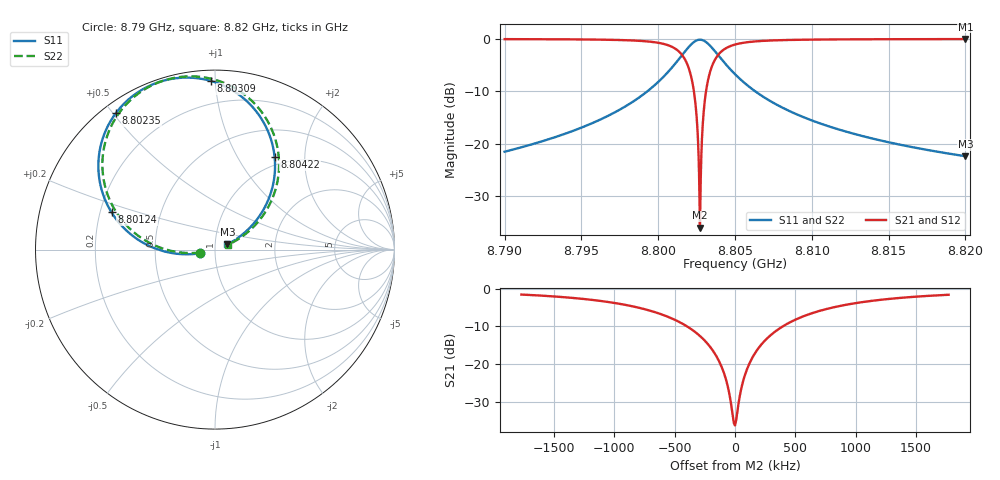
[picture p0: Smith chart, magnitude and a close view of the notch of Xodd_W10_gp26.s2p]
! Sonnet Data File
! From: emgraph Version : 16.52
! From Project: Qubit_Xmon2
! Data is De-embedded
! Data File Written: 10/18/2017 10:22:27
!< HDATE 10/18/2017 09:13:04
!< MDATE 10/18/2017 09:13:04
!< PARAMS
!< Lj = 11.0
!< Gap = 26.0
!< Pwid = 2000.0
!< Airgap = 6.0
!< Width = 10.0
!< END PARAMS
# GHZ S MA R 34.60000
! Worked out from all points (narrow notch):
!   3001 points, 8.79 GHz to 8.82 GHz, reference 34.6 ohm
!   highest |S21| = -0.03 dB at 8.82 GHz (marker M1); lowest = -36.1 dB at 8.80272 GHz (marker M2)
!   notch at M2: 36.0 dB deep, 296 kHz wide at half that depth
!   lowest |S11| = -22.4 dB at 8.82 GHz (marker M3), VSWR 1.16, Z = 39.7 + j2.35 ohm
!   |S11| at or under -10 dB: start of sweep to 8.7993 GHz; 8.806308 GHz to end of sweep
!   |S22| runs from -22.4 to -0.1 dB; largest |S21 - S12| = 0
!   S11 on the Smith chart (normalised r, x): 8.79 GHz: 0.85, -0.03; 8.80124 GHz: 0.25, +0.16; 8.80235 GHz: 0.04, +0.51; 8.80309 GHz: 0.06, +0.97; 8.80422 GHz: 0.87, +1.45; 8.82 GHz: 1.15, +0.07
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8.79  0.08345 -166.1  0.9964 -77.3  0.9964 -77.3  0.08345 -168.8
!< P1 F=8.79 Eeff=(5.1373841 -5.7056e-5) Z0=(34.640405 -9.7526e-5) R=0.0 C=0.0
!< P2 F=8.79 Eeff=(5.1373841 -5.7056e-5) Z0=(34.640405 -9.7526e-5) R=0.0 C=0.0
8.795  0.1418 -169.5  0.9895 -80.8  0.9895 -80.8  0.1418 -172.3
8.79802  0.2338 -175.0  0.9713 -86.2  0.9713 -86.2  0.2338 -177.7
8.8  0.3879 175.5  0.919 -95.5  0.919 -95.5  0.3879 172.8
8.80124  0.6127 160.2  0.7826 -110.4  0.7826 -110.4  0.6127 157.5
8.80193  0.8188 142.4  0.555 -127.6  0.555 -127.6  0.8188 139.7
8.80217  0.8932 133.6  0.4204 -135.9  0.4204 -135.9  0.8932 130.8
8.80235  0.94 126.0  0.297 -142.5  0.297 -142.5  0.94 123.2
8.80249  0.9666 119.6  0.1894 -147.1  0.1894 -147.1  0.9666 116.8
8.80262  0.981 113.4  0.08377 -147.2  0.08377 -147.2  0.981 110.7
8.80272  0.9844 108.6  0.01568 -66.7  0.01568 -66.7  0.9844 105.9
8.80281  0.9815 104.3  0.07867 1.5  0.07867 1.5  0.9815 101.5
8.80294  0.9678 98.1  0.184 2.0  0.184 2.0  0.9678 95.4
8.80309  0.9397 91.3  0.2985 -2.9  0.2985 -2.9  0.9397 88.6
8.80328  0.8906 83.5  0.4265 -9.8  0.4265 -9.8  0.8906 80.7
8.80352  0.8174 74.8  0.5576 -17.9  0.5576 -17.9  0.8174 72.1
8.80422  0.6147 57.3  0.7813 -34.8  0.7813 -34.8  0.6147 54.6
8.805  0.4603 46.5  0.8841 -45.3  0.8841 -45.3  0.4603 43.8
8.80679  0.2829 35.3  0.9579 -56.3  0.9579 -56.3  0.2829 32.6
8.81  0.1663 28.3  0.9857 -63.1  0.9857 -63.1  0.1663 25.6
8.815  0.1028 24.6  0.9946 -66.9  0.9946 -66.9  0.1028 21.9
8.82  0.07558 22.9  0.9971 -68.5  0.9971 -68.5  0.07558 20.2
